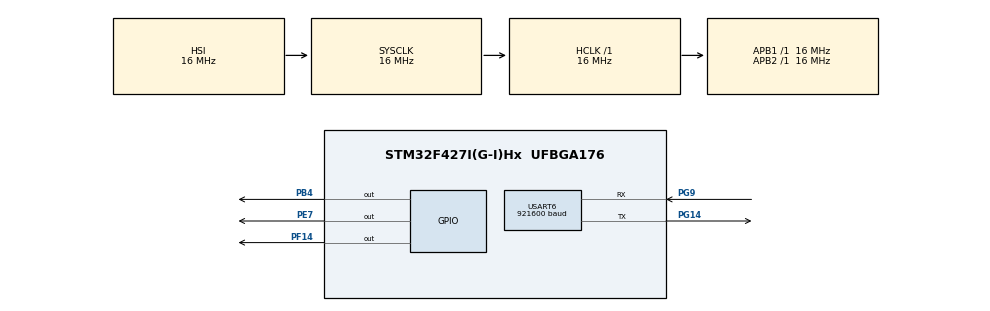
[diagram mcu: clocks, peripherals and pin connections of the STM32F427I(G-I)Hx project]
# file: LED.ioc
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Dma.Request0=USART6_RX
Dma.Request1=USART6_TX
Dma.USART6_RX.0.Direction=DMA_PERIPH_TO_MEMORY
Dma.USART6_RX.0.FIFOMode=DMA_FIFOMODE_DISABLE
Dma.USART6_RX.0.Instance=DMA2_Stream1
Dma.USART6_RX.0.MemDataAlignment=DMA_MDATAALIGN_BYTE
Dma.USART6_RX.0.MemInc=DMA_MINC_ENABLE
Dma.USART6_RX.0.Mode=DMA_NORMAL
Dma.USART6_RX.0.PeriphDataAlignment=DMA_PDATAALIGN_BYTE
Dma.USART6_RX.0.PeriphInc=DMA_PINC_DISABLE
Dma.USART6_RX.0.Priority=DMA_PRIORITY_LOW
Dma.USART6_TX.1.Direction=DMA_MEMORY_TO_PERIPH
Dma.USART6_TX.1.FIFOMode=DMA_FIFOMODE_DISABLE
Dma.USART6_TX.1.Instance=DMA2_Stream7
Dma.USART6_TX.1.MemDataAlignment=DMA_MDATAALIGN_BYTE
Dma.USART6_TX.1.MemInc=DMA_MINC_ENABLE
Dma.USART6_TX.1.Mode=DMA_NORMAL
Dma.USART6_TX.1.PeriphDataAlignment=DMA_PDATAALIGN_BYTE
Dma.USART6_TX.1.PeriphInc=DMA_PINC_DISABLE
Dma.USART6_TX.1.Priority=DMA_PRIORITY_LOW
FREERTOS.Tasks01=defaultTask,0,128,StartDefaultTask,Default,NULL
Mcu.Family=STM32F4
Mcu.Name=STM32F427I(G-I)Hx
Mcu.Package=UFBGA176
NVIC.DMA2_Stream1_IRQn=true\:5\:0\:false\:false\:true\:true\:false
NVIC.DMA2_Stream7_IRQn=true\:5\:0\:false\:false\:true\:true\:false
NVIC.PriorityGroup=NVIC_PRIORITYGROUP_4
NVIC.TIM1_UP_TIM10_IRQn=true\:0\:0\:false\:false\:true\:false\:false
NVIC.TimeBase=TIM1_UP_TIM10_IRQn
NVIC.TimeBaseIP=TIM1
NVIC.USART6_IRQn=true\:5\:0\:false\:false\:true\:true\:true
PB4.PinState=GPIO_PIN_RESET
PB4.Signal=GPIO_Output
PE7.Signal=GPIO_Output
PF14.Signal=GPIO_Output
PG14.Mode=Multiprocessor_communication
PG14.Signal=USART6_TX
PG9.Mode=Multiprocessor_communication
PG9.Signal=USART6_RX
ProjectManager.HeapSize=0x200
ProjectManager.StackSize=0x400
ProjectManager.TargetToolchain=MDK-ARM V5
RCC.AHBFreq_Value=16000000
RCC.APB1Freq_Value=16000000
RCC.APB2Freq_Value=16000000
RCC.CortexFreq_Value=16000000
RCC.HSE_VALUE=25000000
RCC.HSI_VALUE=16000000
RCC.LSE_VALUE=32768
RCC.SYSCLKFreq_VALUE=16000000
RCC.VCOOutputFreq_Value=192000000
USART6.BaudRate=921600
USART6.VirtualMode=VM_ASYNC
VP_FREERTOS_VS_ENABLE.Mode=Enabled
VP_SYS_VS_tim1.Mode=TIM1
board=LED

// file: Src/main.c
/**
  ******************************************************************************
  * @file           : main.c
  * @brief          : Main program body
  ******************************************************************************
  * This notice applies to any and all portions of this file
  * that are not between comment pairs USER CODE BEGIN and
  * USER CODE END. Other portions of this file, whether
  * inserted by the user or by software development tools
  * are owned by their respective copyright owners.
  *
  * Copyright (c) 2018 STMicroelectronics International N.V.
  * All rights reserved.
  *
  * Redistribution and use in source and binary forms, with or without
  * modification, are permitted, provided that the following conditions are met:
  *
  * 1. Redistribution of source code must retain the above copyright notice,
  *    this list of conditions and the following disclaimer.
  * 2. Redistributions in binary form must reproduce the above copyright notice,
  *    this list of conditions and the following disclaimer in the documentation
  *    and/or other materials provided with the distribution.
  * 3. Neither the name of STMicroelectronics nor the names of other
  *    contributors to this software may be used to endorse or promote products
  *    derived from this software without specific written permission.
  * 4. This software, including modifications and/or derivative works of this
  *    software, must execute solely and exclusively on microcontroller or
  *    microprocessor devices manufactured by or for STMicroelectronics.
  * 5. Redistribution and use of this software other than as permitted under
  *    this license is void and will automatically terminate your rights under
  *    this license.
  *
  * THIS SOFTWARE IS PROVIDED BY STMICROELECTRONICS AND CONTRIBUTORS "AS IS"
  * AND ANY EXPRESS, IMPLIED OR STATUTORY WARRANTIES, INCLUDING, BUT NOT
  * LIMITED TO, THE IMPLIED WARRANTIES OF MERCHANTABILITY, FITNESS FOR A
  * PARTICULAR PURPOSE AND NON-INFRINGEMENT OF THIRD PARTY INTELLECTUAL PROPERTY
  * RIGHTS ARE DISCLAIMED TO THE FULLEST EXTENT PERMITTED BY LAW. IN NO EVENT
  * SHALL STMICROELECTRONICS OR CONTRIBUTORS BE LIABLE FOR ANY DIRECT, INDIRECT,
  * INCIDENTAL, SPECIAL, EXEMPLARY, OR CONSEQUENTIAL DAMAGES (INCLUDING, BUT NOT
  * LIMITED TO, PROCUREMENT OF SUBSTITUTE GOODS OR SERVICES; LOSS OF USE, DATA,
  * OR PROFITS; OR BUSINESS INTERRUPTION) HOWEVER CAUSED AND ON ANY THEORY OF
  * LIABILITY, WHETHER IN CONTRACT, STRICT LIABILITY, OR TORT (INCLUDING
  * NEGLIGENCE OR OTHERWISE) ARISING IN ANY WAY OUT OF THE USE OF THIS SOFTWARE,
  * EVEN IF ADVISED OF THE POSSIBILITY OF SUCH DAMAGE.
  *
  ******************************************************************************
  */
#include "main.h"
#include "stm32f4xx_hal.h"
#include "cmsis_os.h"
#include "dma.h"
#include "usart.h"
#include "gpio.h"

/* USER CODE BEGIN Includes */
//#include "led.h"
/* USER CODE END Includes */

/* USER CODE BEGIN PV */
/* Private variables ---------------------------------------------------------*/
TaskHandle_t ledTask_t;
/* USER CODE END PV */

void SystemClock_Config(void);
void MX_FREERTOS_Init(void);

/* USER CODE BEGIN PFP */
/* Private function prototypes -----------------------------------------------*/

/* USER CODE END PFP */

int main(void)
{

  /* MCU Configuration----------------------------------------------------------*/

  /* Reset of all peripherals, Initializes the Flash interface and the Systick. */
  HAL_Init();

  /* Configure the system clock */
  SystemClock_Config();

  /* Initialize all configured peripherals */
  MX_GPIO_Init();
  MX_DMA_Init();
  MX_USART6_UART_Init();
  /* USER CODE BEGIN 2 */
	//HAL_GPIO_WritePin(GPIOF,GPIO_PIN_14,GPIO_PIN_RESET);
	//HAL_GPIO_WritePin(GPIOE,GPIO_PIN_7,GPIO_PIN_RESET);

  /* USER CODE END 2 */

  /* Call init function for freertos objects (in freertos.c) */
  MX_FREERTOS_Init();

  /* Start scheduler */
  osKernelStart();

  /* We should never get here as control is now taken by the scheduler */

  /* Infinite loop */
  while (1)
  {

  /* USER CODE BEGIN 3 */
	//HAL_GPIO_TogglePin(GPIOE,GPIO_PIN_7);
	//HAL_Delay(1000);
  }
  /* USER CODE END 3 */

}

void SystemClock_Config(void)
{

  RCC_OscInitTypeDef RCC_OscInitStruct;
  RCC_ClkInitTypeDef RCC_ClkInitStruct;

    /**Configure the main internal regulator output voltage
    */
  __HAL_RCC_PWR_CLK_ENABLE();

  __HAL_PWR_VOLTAGESCALING_CONFIG(PWR_REGULATOR_VOLTAGE_SCALE3);

    /**Initializes the CPU, AHB and APB busses clocks
    */
  RCC_OscInitStruct.OscillatorType = RCC_OSCILLATORTYPE_HSI;
  RCC_OscInitStruct.HSIState = RCC_HSI_ON;
  RCC_OscInitStruct.HSICalibrationValue = 16;
  RCC_OscInitStruct.PLL.PLLState = RCC_PLL_NONE;
  if (HAL_RCC_OscConfig(&RCC_OscInitStruct) != HAL_OK)
  {
    _Error_Handler(__FILE__, __LINE__);
  }

    /**Initializes the CPU, AHB and APB busses clocks
    */
  RCC_ClkInitStruct.ClockType = RCC_CLOCKTYPE_HCLK|RCC_CLOCKTYPE_SYSCLK
                              |RCC_CLOCKTYPE_PCLK1|RCC_CLOCKTYPE_PCLK2;
  RCC_ClkInitStruct.SYSCLKSource = RCC_SYSCLKSOURCE_HSI;
  RCC_ClkInitStruct.AHBCLKDivider = RCC_SYSCLK_DIV1;
  RCC_ClkInitStruct.APB1CLKDivider = RCC_HCLK_DIV1;
  RCC_ClkInitStruct.APB2CLKDivider = RCC_HCLK_DIV1;

  if (HAL_RCC_ClockConfig(&RCC_ClkInitStruct, FLASH_LATENCY_0) != HAL_OK)
  {
    _Error_Handler(__FILE__, __LINE__);
  }

    /**Configure the Systick interrupt time
    */
  HAL_SYSTICK_Config(HAL_RCC_GetHCLKFreq()/1000);

    /**Configure the Systick
    */
  HAL_SYSTICK_CLKSourceConfig(SYSTICK_CLKSOURCE_HCLK);

  /* SysTick_IRQn interrupt configuration */
  HAL_NVIC_SetPriority(SysTick_IRQn, 15, 0);
}

void HAL_TIM_PeriodElapsedCallback(TIM_HandleTypeDef *htim)
{
  if (htim->Instance == TIM1) {
    HAL_IncTick();
  }
}

void _Error_Handler(char *file, int line)
{
  while(1)
  {
  }
}

/************************ (C) COPYRIGHT STMicroelectronics *****END OF FILE****/

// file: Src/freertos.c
/**
  ******************************************************************************
  * File Name          : freertos.c
  * Description        : Code for freertos applications
  ******************************************************************************
  * This notice applies to any and all portions of this file
  * that are not between comment pairs USER CODE BEGIN and
  * USER CODE END. Other portions of this file, whether
  * inserted by the user or by software development tools
  * are owned by their respective copyright owners.
  *
  * Copyright (c) 2018 STMicroelectronics International N.V.
  * All rights reserved.
  *
  * Redistribution and use in source and binary forms, with or without
  * modification, are permitted, provided that the following conditions are met:
  *
  * 1. Redistribution of source code must retain the above copyright notice,
  *    this list of conditions and the following disclaimer.
  * 2. Redistributions in binary form must reproduce the above copyright notice,
  *    this list of conditions and the following disclaimer in the documentation
  *    and/or other materials provided with the distribution.
  * 3. Neither the name of STMicroelectronics nor the names of other
  *    contributors to this software may be used to endorse or promote products
  *    derived from this software without specific written permission.
  * 4. This software, including modifications and/or derivative works of this
  *    software, must execute solely and exclusively on microcontroller or
  *    microprocessor devices manufactured by or for STMicroelectronics.
  * 5. Redistribution and use of this software other than as permitted under
  *    this license is void and will automatically terminate your rights under
  *    this license.
  *
  * THIS SOFTWARE IS PROVIDED BY STMICROELECTRONICS AND CONTRIBUTORS "AS IS"
  * AND ANY EXPRESS, IMPLIED OR STATUTORY WARRANTIES, INCLUDING, BUT NOT
  * LIMITED TO, THE IMPLIED WARRANTIES OF MERCHANTABILITY, FITNESS FOR A
  * PARTICULAR PURPOSE AND NON-INFRINGEMENT OF THIRD PARTY INTELLECTUAL PROPERTY
  * RIGHTS ARE DISCLAIMED TO THE FULLEST EXTENT PERMITTED BY LAW. IN NO EVENT
  * SHALL STMICROELECTRONICS OR CONTRIBUTORS BE LIABLE FOR ANY DIRECT, INDIRECT,
  * INCIDENTAL, SPECIAL, EXEMPLARY, OR CONSEQUENTIAL DAMAGES (INCLUDING, BUT NOT
  * LIMITED TO, PROCUREMENT OF SUBSTITUTE GOODS OR SERVICES; LOSS OF USE, DATA,
  * OR PROFITS; OR BUSINESS INTERRUPTION) HOWEVER CAUSED AND ON ANY THEORY OF
  * LIABILITY, WHETHER IN CONTRACT, STRICT LIABILITY, OR TORT (INCLUDING
  * NEGLIGENCE OR OTHERWISE) ARISING IN ANY WAY OUT OF THE USE OF THIS SOFTWARE,
  * EVEN IF ADVISED OF THE POSSIBILITY OF SUCH DAMAGE.
  *
  ******************************************************************************
  */

#include "FreeRTOS.h"
#include "task.h"
#include "cmsis_os.h"
#include "main.h"
/* USER CODE BEGIN Includes */
#include "dma.h"
#include "usart.h"
#include "gpio.h"

/* USER CODE END Includes */

osThreadId defaultTaskHandle;

/* USER CODE BEGIN Variables */
TaskHandle_t led_task_t;
TaskHandle_t serial_task_t;

/* USER CODE END Variables */

void StartDefaultTask(void const * argument);

void MX_FREERTOS_Init(void); /* (MISRA C 2004 rule 8.1) */

/* USER CODE BEGIN FunctionPrototypes */
void led_task(void const *argu){

		uint8_t txData[] = {"Hello World\n"};
		uint8_t rxData ='F';

		if(HAL_UART_Receive_DMA(&huart6, (uint8_t *)rxData, sizeof(rxData)-1) != HAL_OK)//main函数while(1)前，启动一次DMA接收
			{
        Error_Handler();
			}

		while(1){
		HAL_GPIO_TogglePin(GPIOE,GPIO_PIN_7);
		//vTaskDelay(1000);
		HAL_GPIO_TogglePin(GPIOF,GPIO_PIN_14);

		//vTaskDelay(1000);

		HAL_UART_Receive(&huart6, (uint8_t*)&rxData,1,1000);
		//vTaskDelay(1000);
		//txData[]=rxData[];
		HAL_UART_Transmit_DMA(&huart6, &rxData, sizeof(rxData)-1);
		vTaskDelay(500);

	//Beepzer
	//HAL_GPIO_WritePin(GPIOB,GPIO_PIN_4,GPIO_PIN_SET);
	//HAL_GPIO_TogglePin(GPIOB,GPIO_PIN_4);
	//vTaskDelay(1000);

	}

}

/* USER CODE END FunctionPrototypes */

/* Hook prototypes */

/* Init FreeRTOS */

void MX_FREERTOS_Init(void) {

  /* Create the thread(s) */
  /* definition and creation of defaultTask */
  osThreadDef(defaultTask, StartDefaultTask, osPriorityNormal, 0, 128);
  defaultTaskHandle = osThreadCreate(osThread(defaultTask), NULL);

  /* USER CODE BEGIN RTOS_THREADS */
  /* add threads, ... */
	osThreadDef(ledTask, led_task, osPriorityAboveNormal,0,128);
	led_task_t = osThreadCreate(osThread(ledTask),NULL);
  /* USER CODE END RTOS_THREADS */

}

/* StartDefaultTask function */
void StartDefaultTask(void const * argument)
{

  for(;;)
  {
    osDelay(1);
  }
}

/************************ (C) COPYRIGHT STMicroelectronics *****END OF FILE****/
